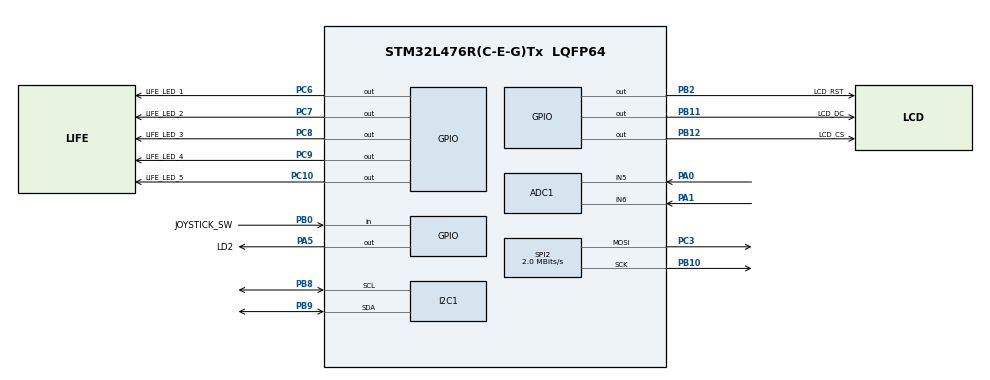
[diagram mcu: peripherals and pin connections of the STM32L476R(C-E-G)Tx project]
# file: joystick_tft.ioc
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ADC1.Channel-0\#ChannelRegularConversion=ADC_CHANNEL_5
ADC1.NbrOfConversionFlag=1
ADC1.OffsetNumber-0\#ChannelRegularConversion=ADC_OFFSET_NONE
ADC1.Rank-0\#ChannelRegularConversion=1
ADC1.SamplingTime-0\#ChannelRegularConversion=ADC_SAMPLETIME_2CYCLES_5
ADC1.master=1
Mcu.Family=STM32L4
Mcu.Name=STM32L476R(C-E-G)Tx
Mcu.Package=LQFP64
NVIC.PriorityGroup=NVIC_PRIORITYGROUP_4
PA0.Signal=ADCx_IN5
PA1.Signal=ADCx_IN6
PA5.GPIO_Label=LD2
PA5.Signal=GPIO_Output
PB0.GPIO_Label=JOYSTICK_SW
PB0.GPIO_PuPd=GPIO_PULLUP
PB0.Signal=GPIO_Input
PB10.Mode=TX_Only_Simplex_Unidirect_Master
PB10.Signal=SPI2_SCK
PB11.GPIO_Label=LCD_DC
PB11.PinState=GPIO_PIN_SET
PB11.Signal=GPIO_Output
PB12.GPIO_Label=LCD_CS
PB12.PinState=GPIO_PIN_SET
PB12.Signal=GPIO_Output
PB2.GPIO_Label=LCD_RST
PB2.PinState=GPIO_PIN_SET
PB2.Signal=GPIO_Output
PB8.Mode=I2C
PB8.Signal=I2C1_SCL
PB9.Mode=I2C
PB9.Signal=I2C1_SDA
PC10.GPIO_Label=LIFE_LED_5
PC10.Signal=GPIO_Output
PC6.GPIO_Label=LIFE_LED_1
PC6.Signal=GPIO_Output
PC7.GPIO_Label=LIFE_LED_2
PC7.Signal=GPIO_Output
PC8.GPIO_Label=LIFE_LED_3
PC8.Signal=GPIO_Output
PC9.GPIO_Label=LIFE_LED_4
PC9.Signal=GPIO_Output
PC3.Mode=TX_Only_Simplex_Unidirect_Master
PC3.Signal=SPI2_MOSI
ProjectManager.HeapSize=0x200
ProjectManager.StackSize=0x400
ProjectManager.TargetToolchain=STM32CubeIDE
RCC.HSE_VALUE=8000000
RCC.HSI_VALUE=16000000
RCC.LSE_VALUE=32768
RCC.MSI_VALUE=4000000
RCC.VCOOutputFreq_Value=32000000
SH.ADCx_IN5.0=ADC1_IN5,IN5-Single-Ended
SH.ADCx_IN6.0=ADC1_IN6,IN6-Single-Ended
SPI2.BaudRatePrescaler=SPI_BAUDRATEPRESCALER_2
SPI2.CalculateBaudRate=2.0 MBits/s
SPI2.DataSize=SPI_DATASIZE_8BIT
SPI2.Direction=SPI_DIRECTION_2LINES
SPI2.Mode=SPI_MODE_MASTER
SPI2.NSSPMode=SPI_NSS_PULSE_DISABLE
SPI2.VirtualType=VM_MASTER
I2C1.AddressingMode=I2C_ADDRESSINGMODE_7BIT
I2C1.AnalogFilter=I2C_ANALOGFILTER_ENABLE
I2C1.DigitalFilter=0
I2C1.Timing=0x00707CBB
board=custom

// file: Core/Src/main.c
/* USER CODE BEGIN Header */
/**
  ******************************************************************************
  * @file           : main.c
  * @brief          : Main program body
  ******************************************************************************
  * @attention
  *
  * Copyright (c) 2026 STMicroelectronics.
  * All rights reserved.
  *
  * This software is licensed under terms that can be found in the LICENSE file
  * in the root directory of this software component.
  * If no LICENSE file comes with this software, it is provided AS-IS.
  *
  ******************************************************************************
  */
/* USER CODE END Header */
#include "main.h"
#include "adc.h"
#include "spi.h"
#include "gpio.h"

/* USER CODE BEGIN Includes */
#include "tft_st7735.h"
#include "joystick.h"
#include "game.h"
#include "lives.h"
#include "i2c.h"
#include "mpu6050.h"

/* USER CODE END Includes */

/* USER CODE BEGIN PV */
static JoystickState joystick;
static uint8_t button_was_pressed;

/* USER CODE END PV */

void SystemClock_Config(void);

int main(void)
{

  /* MCU Configuration--------------------------------------------------------*/

  /* Reset of all peripherals, Initializes the Flash interface and the Systick. */
  HAL_Init();

  /* Configure the system clock */
  SystemClock_Config();

  /* Initialize all configured peripherals */
  MX_GPIO_Init();
  MX_SPI2_Init();
  MX_ADC1_Init();
  MX_I2C1_Init();
  (void)mpu6050_init();
  lives_init();
  /* USER CODE BEGIN 2 */
  HAL_GPIO_WritePin(LD2_GPIO_Port, LD2_Pin, GPIO_PIN_SET);
  HAL_Delay(200U);
  HAL_GPIO_WritePin(LD2_GPIO_Port, LD2_Pin, GPIO_PIN_RESET);
  tft_init();
  game_init();

  /* USER CODE END 2 */

  /* Infinite loop */
  /* USER CODE BEGIN WHILE */
  while (1)
  {
    joystick = joystick_read();

    game_update(joystick,
                joystick.pressed != 0U && button_was_pressed == 0U);
    button_was_pressed = joystick.pressed;
    HAL_GPIO_TogglePin(LD2_GPIO_Port, LD2_Pin);
    HAL_Delay(30U);
    /* USER CODE END WHILE */

  }
}

void SystemClock_Config(void)
{
  RCC_OscInitTypeDef RCC_OscInitStruct = {0};
  RCC_ClkInitTypeDef RCC_ClkInitStruct = {0};

  /** Configure the main internal regulator output voltage
  */
  if (HAL_PWREx_ControlVoltageScaling(PWR_REGULATOR_VOLTAGE_SCALE1) != HAL_OK)
  {
    Error_Handler();
  }

  /** Initializes the RCC Oscillators according to the specified parameters
  * in the RCC_OscInitTypeDef structure.
  */
  RCC_OscInitStruct.OscillatorType = RCC_OSCILLATORTYPE_MSI;
  RCC_OscInitStruct.MSIState = RCC_MSI_ON;
  RCC_OscInitStruct.MSICalibrationValue = 0;
  RCC_OscInitStruct.MSIClockRange = RCC_MSIRANGE_6;
  RCC_OscInitStruct.PLL.PLLState = RCC_PLL_NONE;
  if (HAL_RCC_OscConfig(&RCC_OscInitStruct) != HAL_OK)
  {
    Error_Handler();
  }

  /** Initializes the CPU, AHB and APB buses clocks
  */
  RCC_ClkInitStruct.ClockType = RCC_CLOCKTYPE_HCLK|RCC_CLOCKTYPE_SYSCLK
                              |RCC_CLOCKTYPE_PCLK1|RCC_CLOCKTYPE_PCLK2;
  RCC_ClkInitStruct.SYSCLKSource = RCC_SYSCLKSOURCE_MSI;
  RCC_ClkInitStruct.AHBCLKDivider = RCC_SYSCLK_DIV1;
  RCC_ClkInitStruct.APB1CLKDivider = RCC_HCLK_DIV1;
  RCC_ClkInitStruct.APB2CLKDivider = RCC_HCLK_DIV1;

  if (HAL_RCC_ClockConfig(&RCC_ClkInitStruct, FLASH_LATENCY_0) != HAL_OK)
  {
    Error_Handler();
  }
}

void Error_Handler(void)
{
  __disable_irq();
  while (1)
  {
  }
}
